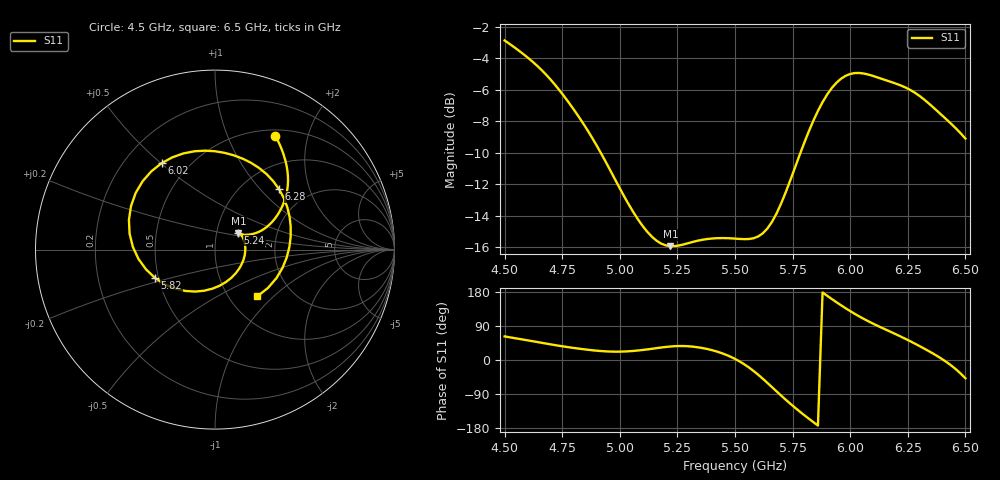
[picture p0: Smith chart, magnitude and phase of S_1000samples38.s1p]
! TOUCHSTONE file generated by CST MICROWAVE STUDIO
! Date and time: Wed Oct 26 18:55:05 2022
! Project name: L.cst
! Parameters = {Di=1.27; Epsilon_r=1.56; InnerDiameter=1.27; Length=2; Lf=10; Lg=60; OuterConductorThickness=0.2921; OuterDiameter=3.6; Wf=3; Wp=41.2; de=1.5; df=6.8; g=0.8; gx=1.1108; gy=2.252; h=2.34; hf=1.524; px=11.8869; py=11.1642; w=9.7; wx=10.7761; wy=8.91221}
! Header version: 2018
! Port assignment regex: !\s*Touchstone port\s*([0-9]+)\s*=\s*(CST MWS port|CST DS port)\s*([0-9]+|Zmin|Zmax)\s*\(\"(.*)\"\)(\s*mode\s*([0-9]+))?.*
! Touchstone port assignment:
! Touchstone port 1 = CST MWS port 1 ("")
# GHz S DB R 50
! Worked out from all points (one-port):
!   101 points, 4.5 GHz to 6.5 GHz, reference 50 ohm
!   lowest |S11| = -15.9 dB at 5.22 GHz (marker M1), VSWR 1.38, Z = 63.6 + j12.2 ohm
!   |S11| at or under -10 dB: 4.917 GHz to 5.784 GHz (866.8 MHz wide, 16.2 % of centre)
!   S11 on the Smith chart (normalised r, x): 4.5 GHz: 0.57, +1.50; 5.24 GHz: 1.27, +0.25; 5.82 GHz: 0.48, -0.18; 6.02 GHz: 0.35, +0.50; 6.28 GHz: 1.44, +1.28; 6.5 GHz: 1.34, -0.80
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4.5  -2.88 62.2
4.64  -4.46 47.6
4.76  -6.45 35.3
4.88  -9.05 25.8
5  -12.26 22.1
5.12  -15.02 28.0
5.22  -15.92 35.7
5.24  -15.92 36.5
5.26  -15.87 36.9
5.38  -15.47 28.9
5.5  -15.44 2.9
5.64  -14.81 -60.0
5.76  -10.95 -125.6
5.82  -8.65 -154.7
5.88  -6.79 178.2
5.92  -5.90 161.0
5.96  -5.30 144.5
6  -5.00 129.1
6.02  -4.94 121.8
6.06  -4.98 108.1
6.12  -5.23 89.9
6.2  -5.62 67.4
6.26  -6.01 49.7
6.28  -6.18 43.4
6.34  -6.86 23.8
6.4  -7.65 2.0
6.46  -8.47 -25.1
6.5  -9.10 -48.1
